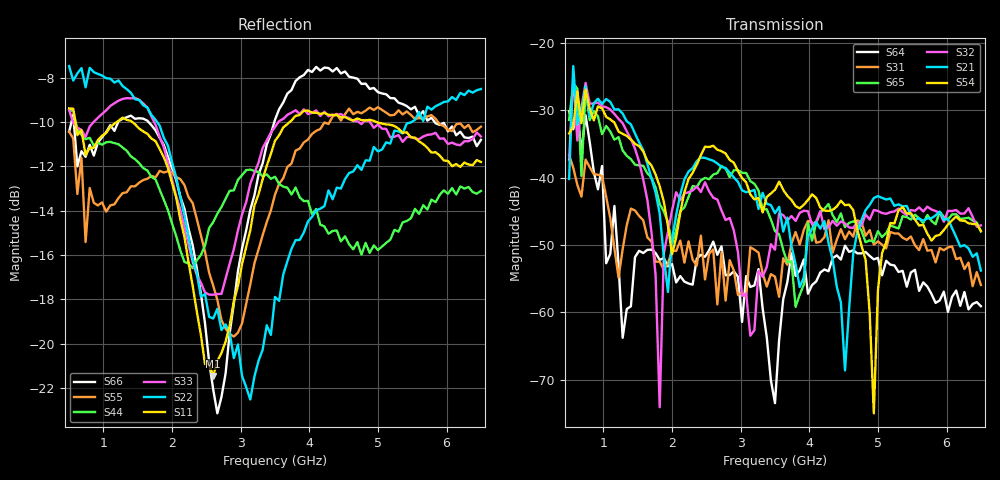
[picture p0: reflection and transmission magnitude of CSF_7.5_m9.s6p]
!Keysight Technologies,M9804A,MY58100912,A.14.10.03
!Date: Thursday, April 27, 2023 10:28:33
!Correction: S11(C  6-Port  )
!S12(C  6-Port  )
!S13(C  6-Port  )
!S14(C  6-Port  )
!S15(C  6-Port  )
!S16(C  6-Port  )
!S21(C  6-Port  )
!S22(C  6-Port  )
!S23(C  6-Port  )
!S24(C  6-Port  )
!S25(C  6-Port  )
!S26(C  6-Port  )
!S31(C  6-Port  )
!S32(C  6-Port  )
!S33(C  6-Port  )
!S34(C  6-Port  )
!S35(C  6-Port  )
!S36(C  6-Port  )
!S41(C  6-Port  )
!S42(C  6-Port  )
!S43(C  6-Port  )
!S44(C  6-Port  )
!S45(C  6-Port  )
!S46(C  6-Port  )
!S51(C  6-Port  )
!S52(C  6-Port  )
!S53(C  6-Port  )
!S54(C  6-Port  )
!S55(C  6-Port  )
!S56(C  6-Port  )
!S61(C  6-Port  )
!S62(C  6-Port  )
!S63(C  6-Port  )
!S64(C  6-Port  )
!S65(C  6-Port  )
!S66(C  6-Port  )
!S6P File: Measurement: :
# Hz S  RI  R 50
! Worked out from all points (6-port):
!   101 points, 500 MHz to 6.5 GHz, reference 50 ohm
!   strongest paths, dB at 500 MHz, 2 GHz, 3.5 GHz, 5 GHz, 6.5 GHz:
!     S54: -33.5, -51.4, -41.8, -56.7, -47.9
!     S21: -40.2, -49.1, -45.3, -42.7, -53.8
!     S32: -37.4, -44.9, -50.7, -44.9, -47.1
!     S65: -31.5, -49.9, -47.9, -47.9, -48.0
!     S31: -36.7, -50.8, -54.7, -49.5, -55.9
!     S64: -30.2, -52.8, -73.4, -51.9, -59.1
!   lowest |S11| = -21.5 dB at 2.6 GHz (marker M1), VSWR 1.18, Z = 42.5 + j2.23 ohm
!   |S11| at or under -10 dB: 590.1 MHz to 1.195 GHz (605.1 MHz wide, 67.8 % of centre); 1.419 GHz to 3.716 GHz (2.297 GHz wide, 89.5 % of centre); 4.975 GHz to end of sweep
